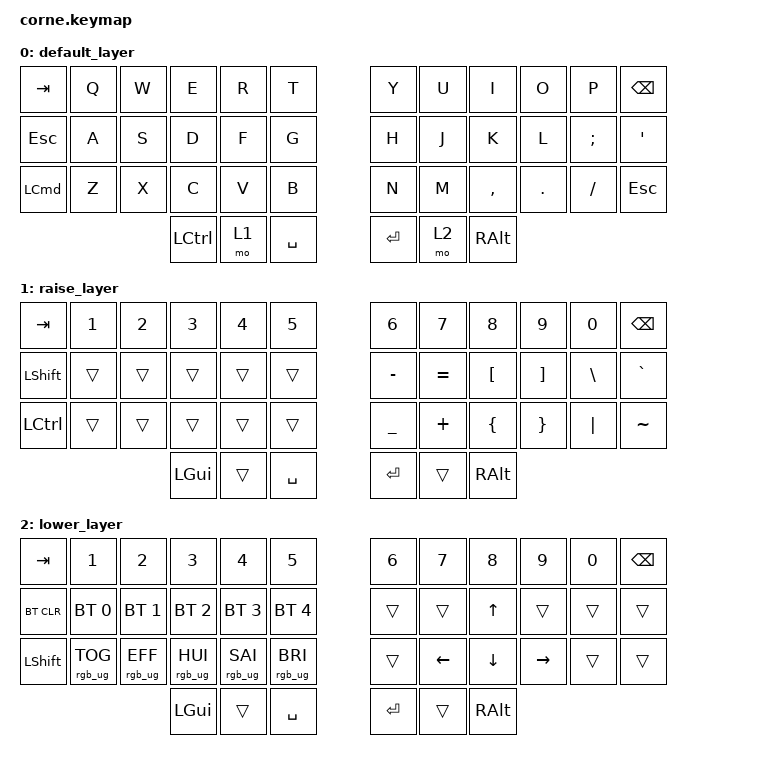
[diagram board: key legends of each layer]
/*
 * Copyright (c) 2020 The ZMK Contributors
 *
 * SPDX-License-Identifier: MIT
 */

#include <behaviors.dtsi>
#include <dt-bindings/zmk/bt.h>
#include <dt-bindings/zmk/keys.h>
#include <dt-bindings/zmk/rgb.h>

/ {
    keymap {
        compatible = "zmk,keymap";

        default_layer {
            // -----------------------------------------------------------------------------------------
            // |  TAB |  Q  |  W  |  E  |  R  |  T  |   |  Y  |  U   |  I  |  O  |  P  | BKSP |
            // | CTRL |  A  |  S  |  D  |  F  |  G  |   |  H  |  J   |  K  |  L  |  ;  |  '   |
            // | SHFT |  Z  |  X  |  C  |  V  |  B  |   |  N  |  M   |  ,  |  .  |  /  | ESC  |
            //                    | GUI | LWR | SPC |   | ENT | RSE  | ALT |

            bindings = <
&kp TAB           &kp Q  &kp W  &kp E             &kp R  &kp T        &kp Y    &kp U  &kp I      &kp O    &kp P     &kp BSPC
&kp ESCAPE        &kp A  &kp S  &kp D             &kp F  &kp G        &kp H    &kp J  &kp K      &kp L    &kp SEMI  &kp SQT
&kp LEFT_COMMAND  &kp Z  &kp X  &kp C             &kp V  &kp B        &kp N    &kp M  &kp COMMA  &kp DOT  &kp FSLH  &kp ESC
                                &kp LEFT_CONTROL  &mo 1  &kp SPACE    &kp RET  &mo 2  &kp RALT
            >;
        };

        raise_layer {
            // -----------------------------------------------------------------------------------------
            // |  TAB |  !  |  @  |  #  |  $  |  %  |   |  ^  |  &  |  *  |  (  |  )  | BKSP |
            // | CTRL |     |     |     |     |     |   |  -  |  =  |  [  |  ]  |  \  |  `   |
            // | SHFT |     |     |     |     |     |   |  _  |  +  |  {  |  }  | "|" |  ~   |
            //                    | GUI |     | SPC |   | ENT |     | ALT |

            bindings = <
&kp TAB           &kp NUMBER_1  &kp NUMBER_2  &kp NUMBER_3  &kp NUMBER_4  &kp NUMBER_5    &kp NUMBER_6  &kp NUMBER_7  &kp NUMBER_8  &kp N9    &kp N0    &kp BSPC
&kp LEFT_SHIFT    &trans        &trans        &trans        &trans        &trans          &kp MINUS     &kp EQUAL     &kp LBKT      &kp RBKT  &kp BSLH  &kp GRAVE
&kp LEFT_CONTROL  &trans        &trans        &trans        &trans        &trans          &kp UNDER     &kp PLUS      &kp LBRC      &kp RBRC  &kp PIPE  &kp TILDE
                                              &kp LGUI      &trans        &kp SPACE       &kp RET       &trans        &kp RALT
            >;
        };

        lower_layer {
            // -----------------------------------------------------------------------------------------
            // |  TAB |  1  |  2  |  3  |  4  |  5  |   |  6  |  7  |  8  |  9  |  0  | BKSP |
            // | BTCLR| BT1 | BT2 | BT3 | BT4 | BT5 |   | LFT | DWN |  UP | RGT |     |      |
            // | SHFT |     |     |     |     |     |   |     |     |     |     |     |      |
            //                    | GUI |     | SPC |   | ENT |     | ALT |

            bindings = <
&kp TAB     &kp N1           &kp N2           &kp N3           &kp N4           &kp N5             &kp N6   &kp N7          &kp N8          &kp N9           &kp N0  &kp BSPC
&bt BT_CLR  &bt BT_SEL 0     &bt BT_SEL 1     &bt BT_SEL 2     &bt BT_SEL 3     &bt BT_SEL 4       &trans   &trans          &kp UP          &trans           &trans  &trans
&kp LSHFT   &rgb_ug RGB_TOG  &rgb_ug RGB_EFF  &rgb_ug RGB_HUI  &rgb_ug RGB_SAI  &rgb_ug RGB_BRI    &trans   &kp LEFT_ARROW  &kp DOWN_ARROW  &kp RIGHT_ARROW  &trans  &trans
                                              &kp LGUI         &trans           &kp SPACE          &kp RET  &trans          &kp RALT
            >;
        };
    };
};
